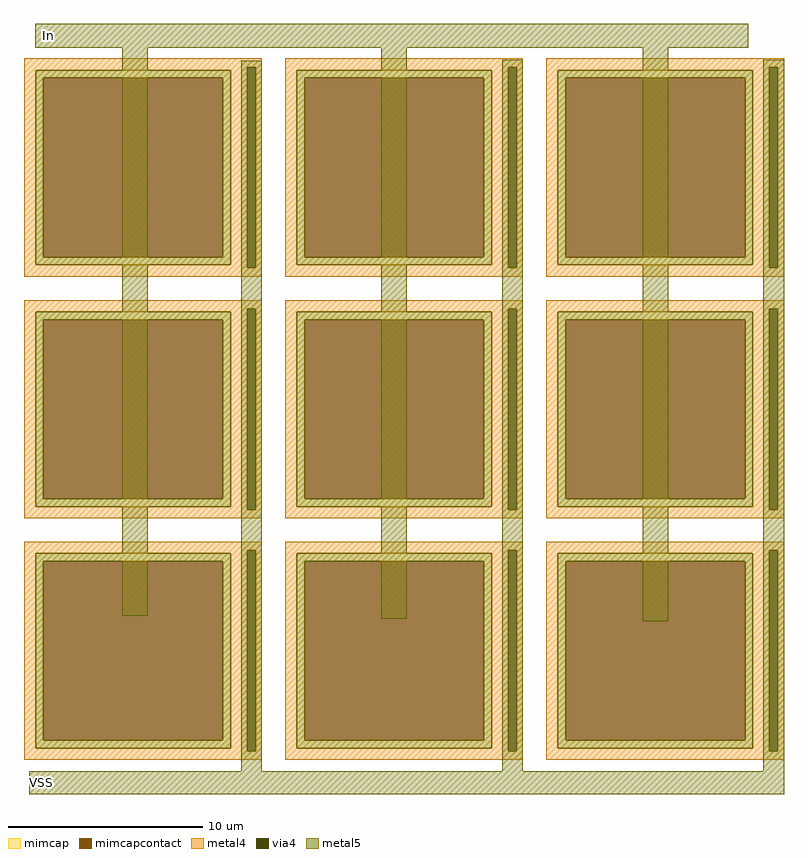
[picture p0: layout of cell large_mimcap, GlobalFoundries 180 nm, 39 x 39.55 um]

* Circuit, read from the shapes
.subckt large_mimcap In VSS
XC1 In VSS cap_mim_2f0fF c_width=10u c_length=10u m=9
.ends

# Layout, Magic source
magic
tech gf180mcuD
magscale 1 10
<< metal5 >>
rect -3396 7367 3918 7615
rect -2505 1541 -2244 7367
rect -1286 -56 -1074 7233
rect 151 1510 412 7367
rect 1394 -56 1606 7243
rect 2835 1482 3096 7367
rect 4074 -56 4286 7244
rect -3458 -294 4286 -56
use mim_2p0fF_8KW78G  XC1 primitives
array 0 2 2680 0 2 2480
transform 1 0 -2294 0 1 1179
box -1220 -1120 1220 1120
<< labels >>
flabel metal5 s -3430 -269 -3230 -69 0 FreeSans 1280 0 0 0 VSS
port 1 nsew
flabel metal5 s -3367 7398 -3167 7598 0 FreeSans 1280 0 0 0 In
port 0 nsew
<< end >>

# cell mim_2p0fF_8KW78G: kit device mim_2p0fF, w 10.00 l 10.00 val 3.3k carea 25.00 cperi 20.00 nx 1 ny 1 dummy 0 square 0 lmin 5.00 wmin 5.00 lmax 100.0 wmax 100.0 dc 0 bconnect 1 tconnect 1
